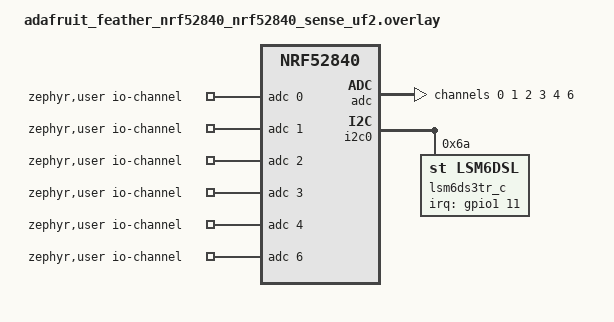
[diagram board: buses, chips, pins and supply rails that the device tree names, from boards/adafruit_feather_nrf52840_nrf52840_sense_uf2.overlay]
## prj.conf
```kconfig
CONFIG_USE_DT_CODE_PARTITION=y

CONFIG_ADC=y
CONFIG_GPIO=y

CONFIG_SERIAL=y
CONFIG_CONSOLE=y
CONFIG_UART_CONSOLE=y
CONFIG_PRINTK=y

CONFIG_LOG=n

CONFIG_BT=y
CONFIG_BT_PERIPHERAL=y
CONFIG_BT_DEVICE_NAME="Insole_Feather"
CONFIG_BT_MAX_CONN=1
CONFIG_BT_MAX_PAIRED=1
CONFIG_BT_NUS=y

CONFIG_HEAP_MEM_POOL_SIZE=2048
CONFIG_SYSTEM_WORKQUEUE_STACK_SIZE=2048
CONFIG_ASSERT=y

CONFIG_I2C=y
CONFIG_SENSOR=y
CONFIG_LSM6DSL=y
```

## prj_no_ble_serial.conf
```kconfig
CONFIG_USE_DT_CODE_PARTITION=y

CONFIG_ADC=y
CONFIG_GPIO=y

CONFIG_SERIAL=y
CONFIG_CONSOLE=y
CONFIG_UART_CONSOLE=y
CONFIG_PRINTK=y
CONFIG_LOG=n

CONFIG_BT=n
CONFIG_BT_PERIPHERAL=n
CONFIG_BT_NUS=n
CONFIG_BT_NUS_SECURITY_ENABLED=n

CONFIG_HEAP_MEM_POOL_SIZE=2048
CONFIG_SYSTEM_WORKQUEUE_STACK_SIZE=2048
CONFIG_ASSERT=y

CONFIG_I2C=y
CONFIG_SENSOR=y
CONFIG_LSM6DSL=y
```

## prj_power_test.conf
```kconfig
CONFIG_USE_DT_CODE_PARTITION=y

CONFIG_ADC=y
CONFIG_GPIO=y

# Disable console output so UART activity does not affect the measurement.
CONFIG_SERIAL=n
CONFIG_CONSOLE=n
CONFIG_UART_CONSOLE=n
CONFIG_PRINTK=n
CONFIG_LOG=n

# Completely exclude the Bluetooth host, controller, and NUS service.
CONFIG_BT=n
CONFIG_BT_PERIPHERAL=n
CONFIG_BT_NUS=n
CONFIG_BT_NUS_SECURITY_ENABLED=n

CONFIG_HEAP_MEM_POOL_SIZE=2048
CONFIG_SYSTEM_WORKQUEUE_STACK_SIZE=2048
CONFIG_ASSERT=y

CONFIG_I2C=y
CONFIG_SENSOR=y
CONFIG_LSM6DSL=y
```

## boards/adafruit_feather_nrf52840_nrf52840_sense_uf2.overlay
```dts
#include <zephyr/dt-bindings/adc/adc.h>
#include <zephyr/dt-bindings/adc/nrf-saadc.h>

/ {
	zephyr,user {
		io-channels = <&adc 0>, <&adc 1>, <&adc 2>,
			      <&adc 3>, <&adc 4>, <&adc 6>;
	};
};

&adc {
	#address-cells = <1>;
	#size-cells = <0>;
	status = "okay";

	channel@0 {
		reg = <0>;
		zephyr,gain = "ADC_GAIN_1_6";
		zephyr,reference = "ADC_REF_INTERNAL";
		zephyr,acquisition-time = <ADC_ACQ_TIME_DEFAULT>;
		zephyr,input-positive = <NRF_SAADC_AIN2>; /* Feather A0, P0.04 */
		zephyr,resolution = <12>;
	};

	channel@1 {
		reg = <1>;
		zephyr,gain = "ADC_GAIN_1_6";
		zephyr,reference = "ADC_REF_INTERNAL";
		zephyr,acquisition-time = <ADC_ACQ_TIME_DEFAULT>;
		zephyr,input-positive = <NRF_SAADC_AIN3>; /* Feather A1, P0.05 */
		zephyr,resolution = <12>;
	};

	channel@2 {
		reg = <2>;
		zephyr,gain = "ADC_GAIN_1_6";
		zephyr,reference = "ADC_REF_INTERNAL";
		zephyr,acquisition-time = <ADC_ACQ_TIME_DEFAULT>;
		zephyr,input-positive = <NRF_SAADC_AIN6>; /* Feather A2, P0.30 */
		zephyr,resolution = <12>;
	};

	channel@3 {
		reg = <3>;
		zephyr,gain = "ADC_GAIN_1_6";
		zephyr,reference = "ADC_REF_INTERNAL";
		zephyr,acquisition-time = <ADC_ACQ_TIME_DEFAULT>;
		zephyr,input-positive = <NRF_SAADC_AIN4>; /* Feather A3, P0.28 */
		zephyr,resolution = <12>;
	};

	channel@4 {
		reg = <4>;
		zephyr,gain = "ADC_GAIN_1_6";
		zephyr,reference = "ADC_REF_INTERNAL";
		zephyr,acquisition-time = <ADC_ACQ_TIME_DEFAULT>;
		zephyr,input-positive = <NRF_SAADC_AIN0>; /* Feather A4, P0.02 */
		zephyr,resolution = <12>;
	};

	/* Logical channel 5 is reserved by the board's battery monitor. */
	channel@6 {
		reg = <6>;
		zephyr,gain = "ADC_GAIN_1_6";
		zephyr,reference = "ADC_REF_INTERNAL";
		zephyr,acquisition-time = <ADC_ACQ_TIME_DEFAULT>;
		zephyr,input-positive = <NRF_SAADC_AIN1>; /* Feather A5, P0.03 */
		zephyr,resolution = <12>;
	};
};

/* Match the installed UF2 bootloader, which has no SoftDevice. */
&reserved_partition_0 {
	reg = <0x00000000 0x00001000>;
};

/delete-node/ &code_partition;

&{/chosen} {
	zephyr,code-partition = &code_partition_no_sd;
};

&flash0 {
	partitions {
		code_partition_no_sd: partition@1000 {
			label = "Application";
			reg = <0x00001000 0x000eb000>;
		};
	};
};
&i2c0 {
    status = "okay";

    lsm6ds3tr_c: lsm6ds3tr-c@6a {
        compatible = "st,lsm6dsl";
        reg = <0x6a>;
        irq-gpios = <&gpio1 11 GPIO_ACTIVE_HIGH>;
    };
};
```

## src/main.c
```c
#include <zephyr/kernel.h>
#include <zephyr/bluetooth/bluetooth.h>
#include <zephyr/bluetooth/conn.h>
#include <bluetooth/services/nus.h>
#include <zephyr/device.h>
#include <zephyr/devicetree.h>
#include <zephyr/drivers/adc.h>
#include <zephyr/drivers/sensor.h>
#include <zephyr/sys/printk.h>
#include <zephyr/sys/util.h>

#include <inttypes.h>
#include <stdbool.h>
#include <stddef.h>
#include <stdint.h>
#include <stdio.h>
#include <string.h>

#define DEVICE_NAME CONFIG_BT_DEVICE_NAME
#define DEVICE_NAME_LEN (sizeof(DEVICE_NAME) - 1)

#define USER_NODE DT_PATH(zephyr_user)

#define NUM_ADC_CHANNELS 6U

/*
 * One combined ADC + IMU sample approximately every 10 ms.
 *
 * 10 ms corresponds to a target software sampling rate of 100 Hz.
 */
#define SAMPLE_PERIOD_MS 10U

/*
 * The LSM6DSL family supports 104 Hz as the closest hardware ODR
 * to the requested 100 Hz.
 */
#define IMU_ODR_HZ 104

/*
 * Repeat the CSV header over BLE after this many successfully
 * transmitted data rows. (Print header after 500 rows) 
 */
#define CSV_HEADER_INTERVAL_ROWS 500U

#if !DT_NODE_EXISTS(USER_NODE) || \
    !DT_NODE_HAS_PROP(USER_NODE, io_channels)
#error "No suitable devicetree overlay specified"
#endif

BUILD_ASSERT(
    DT_PROP_LEN(USER_NODE, io_channels) == NUM_ADC_CHANNELS,
    "Overlay must contain exactly six ADC channels"
);

static uint32_t serial_rows_since_header =
    CSV_HEADER_INTERVAL_ROWS;

/*
 * --------------------------------------------------------------------------
 * BLE state
 * --------------------------------------------------------------------------
 */

static bool ble_connected;
static bool header_sent;
static uint32_t rows_since_header;
static struct bt_conn *current_conn;

/*
 * IMU values use integer micro-units:
 *
 * ax, ay, az:
 *     micrometers per second squared
 *
 * gx, gy, gz:
 *     microradians per second
 *
 * Divide by 1,000,000 on the phone or computer to recover:
 *
 *     acceleration in m/s^2
 *     angular velocity in rad/s
 */
static const char csv_header[] =
    "timestamp,p1,p2,p3,p4,p5,p6,"
    "ax,ay,az,gx,gy,gz\n";

static const struct bt_data ad[] = {
    BT_DATA_BYTES(
        BT_DATA_FLAGS,
        BT_LE_AD_GENERAL | BT_LE_AD_NO_BREDR
    ),
    BT_DATA(
        BT_DATA_NAME_COMPLETE,
        DEVICE_NAME,
        DEVICE_NAME_LEN
    ),
};

static const struct bt_data sd[] = {
    BT_DATA_BYTES(
        BT_DATA_UUID128_ALL,
        BT_UUID_NUS_VAL
    ),
};

/*
 * --------------------------------------------------------------------------
 * ADC definitions
 * --------------------------------------------------------------------------
 */

static const struct adc_dt_spec adc_channels[NUM_ADC_CHANNELS] = {
    ADC_DT_SPEC_GET_BY_IDX(USER_NODE, 0),
    ADC_DT_SPEC_GET_BY_IDX(USER_NODE, 1),
    ADC_DT_SPEC_GET_BY_IDX(USER_NODE, 2),
    ADC_DT_SPEC_GET_BY_IDX(USER_NODE, 3),
    ADC_DT_SPEC_GET_BY_IDX(USER_NODE, 4),
    ADC_DT_SPEC_GET_BY_IDX(USER_NODE, 5),
};

static int16_t adc_sample_buffer[NUM_ADC_CHANNELS];

/*
 * --------------------------------------------------------------------------
 * IMU definition
 * --------------------------------------------------------------------------
 */

static const struct device *const imu_dev =
    DEVICE_DT_GET_ONE(st_lsm6dsl);

/*
 * --------------------------------------------------------------------------
 * BLE callbacks
 * --------------------------------------------------------------------------
 */

static void restart_advertising_work_handler(struct k_work *work)
{
    int err;

    ARG_UNUSED(work);

    err = bt_le_adv_start(
        BT_LE_ADV_CONN_FAST_2,
        ad,
        ARRAY_SIZE(ad),
        sd,
        ARRAY_SIZE(sd)
    );

    if (err) {
        printk("Advertising restart failed: %d\n", err);
    } else {
        printk("Advertising restarted\n");
    }
}

K_WORK_DELAYABLE_DEFINE(
    restart_advertising_work,
    restart_advertising_work_handler
);

static void connected(struct bt_conn *conn, uint8_t err)
{
    if (err) {
        printk("BLE connection failed, error %u\n", err);
        return;
    }

    /*
     * Defensive cleanup in case a previous reference still exists.
     */
    if (current_conn != NULL) {
        bt_conn_unref(current_conn);
    }

    current_conn = bt_conn_ref(conn);
    ble_connected = true;
    header_sent = false;
    rows_since_header = 0U;

    printk("BLE connected\n");
}

static void disconnected(struct bt_conn *conn, uint8_t reason)
{
    ARG_UNUSED(conn);

    ble_connected = false;
    header_sent = false;
    rows_since_header = 0U;

    printk("BLE disconnected, reason %u\n", reason);

    if (current_conn != NULL) {
        bt_conn_unref(current_conn);
        current_conn = NULL;
    }

    /*
     * Restart advertising so the board becomes discoverable again.
     */
    k_work_schedule(
        &restart_advertising_work,
        K_MSEC(500)
    );
}

BT_CONN_CB_DEFINE(conn_callbacks) = {
    .connected = connected,
    .disconnected = disconnected,
};

/*
 * --------------------------------------------------------------------------
 * ADC initialization
 * --------------------------------------------------------------------------
 */

static int initialize_adc(struct adc_sequence *sequence)
{
    int err;

    for (size_t i = 0U; i < ARRAY_SIZE(adc_channels); i++) {
        if (!adc_is_ready_dt(&adc_channels[i])) {
            printk(
                "ADC device for channel %u is not ready\n",
                (unsigned int)i
            );
            return -ENODEV;
        }

        /*
         * All six logical channels must use the same ADC peripheral.
         */
        if (adc_channels[i].dev != adc_channels[0].dev) {
            printk(
                "ADC channel %u uses a different ADC device\n",
                (unsigned int)i
            );
            return -EINVAL;
        }

        err = adc_channel_setup_dt(&adc_channels[i]);
        if (err < 0) {
            printk(
                "Could not configure ADC channel %u, error %d\n",
                (unsigned int)i,
                err
            );
            return err;
        }

        sequence->channels |= BIT(adc_channels[i].channel_id);
    }

    printk("Six ADC channels initialized\n");

    return 0;
}

/*
 * --------------------------------------------------------------------------
 * IMU initialization
 * --------------------------------------------------------------------------
 */

static int initialize_imu(void)
{
    int err;

    struct sensor_value odr = {
        .val1 = IMU_ODR_HZ,
        .val2 = 0,
    };

    if (!device_is_ready(imu_dev)) {
        printk("IMU device is not ready\n");
        return -ENODEV;
    }

    err = sensor_attr_set(
        imu_dev,
        SENSOR_CHAN_ACCEL_XYZ,
        SENSOR_ATTR_SAMPLING_FREQUENCY,
        &odr
    );

    if (err < 0) {
        printk(
            "Cannot set accelerometer ODR, error %d\n",
            err
        );
        return err;
    }

    err = sensor_attr_set(
        imu_dev,
        SENSOR_CHAN_GYRO_XYZ,
        SENSOR_ATTR_SAMPLING_FREQUENCY,
        &odr
    );

    if (err < 0) {
        printk(
            "Cannot set gyroscope ODR, error %d\n",
            err
        );
        return err;
    }

    printk("IMU initialized at %u Hz\n", IMU_ODR_HZ);

    return 0;
}

/*
 * --------------------------------------------------------------------------
 * BLE initialization
 * --------------------------------------------------------------------------
 */

static int initialize_ble(void)
{
    int err;

    err = bt_enable(NULL);
    if (err < 0) {
        printk("Bluetooth initialization failed: %d\n", err);
        return err;
    }

    printk("Bluetooth initialized\n");

    err = bt_nus_init(NULL);
    if (err < 0) {
        printk(
            "Nordic UART Service initialization failed: %d\n",
            err
        );
        return err;
    }

    err = bt_le_adv_start(
        BT_LE_ADV_CONN_FAST_2,
        ad,
        ARRAY_SIZE(ad),
        sd,
        ARRAY_SIZE(sd)
    );

    if (err < 0) {
        printk("Advertising failed to start: %d\n", err);
        return err;
    }

    printk("Advertising as %s\n", DEVICE_NAME);

    return 0;
}

/*
 * --------------------------------------------------------------------------
 * Send one CSV row over BLE
 * --------------------------------------------------------------------------
 */

static void send_csv_over_ble(
    const char *data_line,
    size_t data_length
)
{
    int err;

    if (!ble_connected || current_conn == NULL) {
        return;
    }

    /*
     * Send the header after each connection and periodically afterward.
     */
    if (!header_sent ||
        rows_since_header >= CSV_HEADER_INTERVAL_ROWS) {

        err = bt_nus_send(
            current_conn,
            csv_header,
            strlen(csv_header)
        );

        if (err < 0) {
            printk("Header send failed: %d\n", err);
            return;
        }

        header_sent = true;
        rows_since_header = 0U;
    }

    err = bt_nus_send(
        current_conn,
        data_line,
        data_length
    );

    if (err < 0) {
        printk("BLE send failed: %d\n", err);
        return;
    }

    rows_since_header++;
}

/*
 * --------------------------------------------------------------------------
 * Main
 * --------------------------------------------------------------------------
 */

int main(void)
{
    int err;
    uint32_t start_time_ms;

    struct adc_sequence adc_sequence = {
        .channels = 0U,
        .buffer = adc_sample_buffer,
        .buffer_size = sizeof(adc_sample_buffer),
        .resolution = 12,
        .oversampling = 0,
        .calibrate = false,
        .options = NULL,
    };

    printk("Starting BLE + ADC + IMU application\n");

    err = initialize_adc(&adc_sequence);
    if (err < 0) {
        return 0;
    }

    err = initialize_imu();
    if (err < 0) {
        return 0;
    }

    err = initialize_ble();
    if (err < 0) {
        return 0;
    }

    k_sleep(K_SECONDS(2));

    start_time_ms = k_uptime_get_32();

    while (1) {
        char data_line[256];

        uint32_t timestamp_ms;

        struct sensor_value accel[3];
        struct sensor_value gyro[3];

        int64_t ax;
        int64_t ay;
        int64_t az;

        int64_t gx;
        int64_t gy;
        int64_t gz;

        int line_length;

        /*
         * Timestamp represents elapsed time since sampling started.
         */
        timestamp_ms =
            k_uptime_get_32() - start_time_ms;

        /*
         * Read all six ADC channels.
         */
        err = adc_read(
            adc_channels[0].dev,
            &adc_sequence
        );

        if (err < 0) {
            printk(
                "# ERROR: ADC read failed, error %d\n",
                err
            );

            k_sleep(K_MSEC(SAMPLE_PERIOD_MS));
            continue;
        }

        /*
         * Fetch the latest accelerometer and gyroscope sample.
         */
        err = sensor_sample_fetch(imu_dev);
        if (err < 0) {
            printk(
                "# ERROR: IMU sample fetch failed, error %d\n",
                err
            );

            k_sleep(K_MSEC(SAMPLE_PERIOD_MS));
            continue;
        }

        err = sensor_channel_get(
            imu_dev,
            SENSOR_CHAN_ACCEL_XYZ,
            accel
        );

        if (err < 0) {
            printk(
                "# ERROR: Accelerometer read failed, error %d\n",
                err
            );

            k_sleep(K_MSEC(SAMPLE_PERIOD_MS));
            continue;
        }

        err = sensor_channel_get(
            imu_dev,
            SENSOR_CHAN_GYRO_XYZ,
            gyro
        );

        if (err < 0) {
            printk(
                "# ERROR: Gyroscope read failed, error %d\n",
                err
            );

            k_sleep(K_MSEC(SAMPLE_PERIOD_MS));
            continue;
        }

        /*
         * Convert Zephyr sensor_value objects to integer micro-units.
         */
        ax = sensor_value_to_micro(&accel[0]);
        ay = sensor_value_to_micro(&accel[1]);
        az = sensor_value_to_micro(&accel[2]);

        gx = sensor_value_to_micro(&gyro[0]);
        gy = sensor_value_to_micro(&gyro[1]);
        gz = sensor_value_to_micro(&gyro[2]);

        /*
         * Create one synchronized ADC + IMU CSV record.
         */
        line_length = snprintf(
            data_line,
            sizeof(data_line),
            "%" PRIu32 ","
            "%d,%d,%d,%d,%d,%d,"
            "%" PRId64 ",%" PRId64 ",%" PRId64 ","
            "%" PRId64 ",%" PRId64 ",%" PRId64 "\n",
            timestamp_ms,
            (int)adc_sample_buffer[0],
            (int)adc_sample_buffer[1],
            (int)adc_sample_buffer[2],
            (int)adc_sample_buffer[3],
            (int)adc_sample_buffer[4],
            (int)adc_sample_buffer[5],
            ax,
            ay,
            az,
            gx,
            gy,
            gz
        );

        if (line_length < 0 ||
            line_length >= (int)sizeof(data_line)) {

            printk(
                "# ERROR: CSV row formatting failed or was truncated\n"
            );

            k_sleep(K_MSEC(SAMPLE_PERIOD_MS));
            continue;
        }

        /*
        * Repeat the header periodically on the serial console.
        * Initializing the counter to CSV_HEADER_INTERVAL_ROWS causes
        * the header to be printed immediately before the first row.
        */
        if (serial_rows_since_header >= CSV_HEADER_INTERVAL_ROWS) {
            printk("%s", csv_header);
            serial_rows_since_header = 0U;
        }

        printk("%s", data_line);
        serial_rows_since_header++;

        /*
         * Send the same row over BLE when connected.
         */
        send_csv_over_ble(
            data_line,
            (size_t)line_length
        );

        k_sleep(K_MSEC(SAMPLE_PERIOD_MS));
    }

    return 0;
}
```
